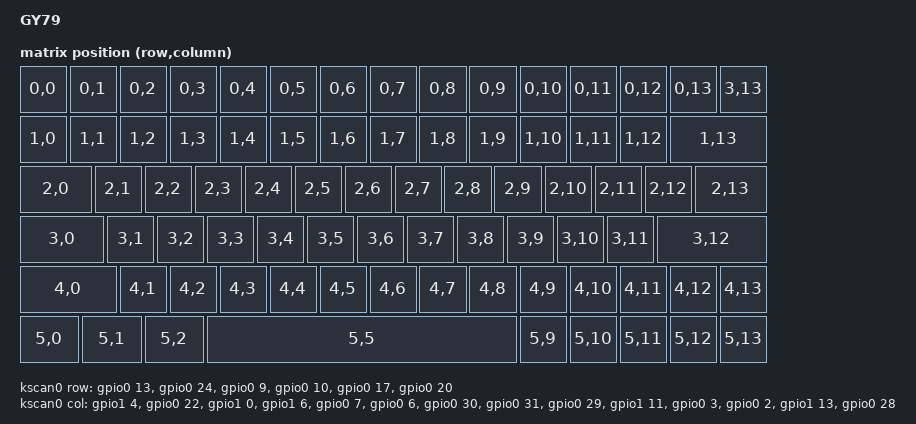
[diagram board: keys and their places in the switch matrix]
/*
* Copyright (c) 2021 Polarity Works
*
* SPDX-License-Identifier: MIT
*/

/dts-v1/;
#include <nordic/nrf52840_qiaa.dtsi>
#include <dt-bindings/led/led.h>
#include <dt-bindings/zmk/matrix_transform.h>
#include <physical_layouts.dtsi>
#include "pinctrl.dtsi"

/ {
	model = "GY79";
	compatible = "polarityworks,gy79";

	chosen {
		zephyr,code-partition = &code_partition;
		zephyr,sram = &sram0;
		zephyr,flash = &flash0;
		zmk,kscan = &kscan0;
		zmk,underglow = &led_strip;
		zmk,battery = &vbatt;
		zmk,physical-layout = &physical_layout_0;
	};


	kscan0: kscan_0 {
		compatible = "zmk,kscan-gpio-matrix";
		diode-direction = "col2row";


		col-gpios
			= <&gpio1 4 GPIO_ACTIVE_HIGH>
			, <&gpio0 22 GPIO_ACTIVE_HIGH>
			, <&gpio1 0 GPIO_ACTIVE_HIGH>
			, <&gpio1 6 GPIO_ACTIVE_HIGH>
			, <&gpio0 7 GPIO_ACTIVE_HIGH>
			, <&gpio0 6 GPIO_ACTIVE_HIGH>
			, <&gpio0 30 GPIO_ACTIVE_HIGH>
			, <&gpio0 31 GPIO_ACTIVE_HIGH>
			, <&gpio0 29 GPIO_ACTIVE_HIGH>
			, <&gpio1 11 GPIO_ACTIVE_HIGH>
			, <&gpio0 3 GPIO_ACTIVE_HIGH>
			, <&gpio0 2 GPIO_ACTIVE_HIGH>
			, <&gpio1 13 GPIO_ACTIVE_HIGH>
			, <&gpio0 28 GPIO_ACTIVE_HIGH>
			;

		row-gpios
			= <&gpio0 13 (GPIO_ACTIVE_HIGH | GPIO_PULL_DOWN)>
			, <&gpio0 24 (GPIO_ACTIVE_HIGH | GPIO_PULL_DOWN)>
			, <&gpio0  9 (GPIO_ACTIVE_HIGH | GPIO_PULL_DOWN)>
			, <&gpio0 10 (GPIO_ACTIVE_HIGH | GPIO_PULL_DOWN)>
			, <&gpio0 17 (GPIO_ACTIVE_HIGH | GPIO_PULL_DOWN)>
			, <&gpio0 20 (GPIO_ACTIVE_HIGH | GPIO_PULL_DOWN)>
			;
	};

	ext-power {
		compatible = "zmk,ext-power-generic";
		control-gpios = <&gpio1 19 GPIO_ACTIVE_HIGH>;
		init-delay-ms = <50>;
	};


	leds {
		compatible = "gpio-leds";
		blue_led: led_0 {
			gpios = <&gpio1 10 GPIO_ACTIVE_HIGH>;
			label = "Blue LED";
		};
	};

	vbatt: vbatt {
		compatible = "zmk,battery-voltage-divider";
		io-channels = <&adc 2>;
		output-ohms = <100000>;
		full-ohms = <(2000000 + 820000)>;
	};

	layout_grid_transform:
    keymap_transform_0 {
        compatible = "zmk,matrix-transform";
        columns = <14>;
        rows = <6>;
        map = <
            RC(0,0) RC(0,1) RC(0,2) RC(0,3) RC(0,4) RC(0,5) RC(0,6) RC(0,7) RC(0,8) RC(0,9) RC(0,10) RC(0,11) RC(0,12) RC(0,13) RC(3,13) 
            RC(1,0) RC(1,1) RC(1,2) RC(1,3) RC(1,4) RC(1,5) RC(1,6) RC(1,7) RC(1,8) RC(1,9) RC(1,10) RC(1,11) RC(1,12) RC(1,13)
            RC(2,0) RC(2,1) RC(2,2) RC(2,3) RC(2,4) RC(2,5) RC(2,6) RC(2,7) RC(2,8) RC(2,9) RC(2,10) RC(2,11) RC(2,12) RC(2,13) 
            RC(3,0) RC(3,1) RC(3,2) RC(3,3) RC(3,4) RC(3,5) RC(3,6) RC(3,7) RC(3,8) RC(3,9) RC(3,10) RC(3,11) RC(3,12) 
            RC(4,0) RC(4,1) RC(4,2) RC(4,3) RC(4,4) RC(4,5) RC(4,6) RC(4,7) RC(4,8) RC(4,9) RC(4,10) RC(4,11) RC(4,12) RC(4,13) 
            RC(5,0) RC(5,1) RC(5,2)                         RC(5,5)                         RC(5,9) RC(5,10) RC(5,11) RC(5,12) RC(5,13)     
            >;

    };
	physical_layout_0: physical_layout_0 {
        compatible = "zmk,physical-layout";
        display-name = "Default";
        transform = <&layout_grid_transform>;

        keys  //                     w   h    x    y     rot    rx    ry
            = <&key_physical_attrs 100 100    0    0       0     0     0>
            , <&key_physical_attrs 100 100  100    0       0     0     0>
            , <&key_physical_attrs 100 100  200    0       0     0     0>
            , <&key_physical_attrs 100 100  300    0       0     0     0>
            , <&key_physical_attrs 100 100  400    0       0     0     0>
            , <&key_physical_attrs 100 100  500    0       0     0     0>
            , <&key_physical_attrs 100 100  600    0       0     0     0>
            , <&key_physical_attrs 100 100  700    0       0     0     0>
            , <&key_physical_attrs 100 100  800    0       0     0     0>
            , <&key_physical_attrs 100 100  900    0       0     0     0>
            , <&key_physical_attrs 100 100 1000    0       0     0     0>
            , <&key_physical_attrs 100 100 1100    0       0     0     0>
            , <&key_physical_attrs 100 100 1200    0       0     0     0>
            , <&key_physical_attrs 100 100 1300    0       0     0     0>
	    , <&key_physical_attrs 100 100 1400    0       0     0     0>
			
            , <&key_physical_attrs 100 100    0  100       0     0     0>
            , <&key_physical_attrs 100 100  100  100       0     0     0>
            , <&key_physical_attrs 100 100  200  100       0     0     0>
            , <&key_physical_attrs 100 100  300  100       0     0     0>
            , <&key_physical_attrs 100 100  400  100       0     0     0>
            , <&key_physical_attrs 100 100  500  100       0     0     0>
            , <&key_physical_attrs 100 100  600  100       0     0     0>
            , <&key_physical_attrs 100 100  700  100       0     0     0>
            , <&key_physical_attrs 100 100  800  100       0     0     0>
            , <&key_physical_attrs 100 100  900  100       0     0     0>
            , <&key_physical_attrs 100 100 1000  100       0     0     0>
            , <&key_physical_attrs 100 100 1100  100       0     0     0>
            , <&key_physical_attrs 100 100 1200  100       0     0     0>
            , <&key_physical_attrs 200 100 1300  100       0     0     0>
			
	    , <&key_physical_attrs 150 100    0  200       0     0     0>
            , <&key_physical_attrs 100 100  150  200       0     0     0>
            , <&key_physical_attrs 100 100  250  200       0     0     0>
            , <&key_physical_attrs 100 100  350  200       0     0     0>
            , <&key_physical_attrs 100 100  450  200       0     0     0>
            , <&key_physical_attrs 100 100  550  200       0     0     0>
            , <&key_physical_attrs 100 100  650  200       0     0     0>
            , <&key_physical_attrs 100 100  750  200       0     0     0>
            , <&key_physical_attrs 100 100  850  200       0     0     0>
            , <&key_physical_attrs 100 100  950  200       0     0     0>
            , <&key_physical_attrs 100 100 1050  200       0     0     0>
            , <&key_physical_attrs 100 100 1150  200       0     0     0>
            , <&key_physical_attrs 100 100 1250  200       0     0     0>
            , <&key_physical_attrs 150 100 1350  200       0     0     0>
			
            , <&key_physical_attrs 175 100    0  300       0     0     0>
            , <&key_physical_attrs 100 100  175  300       0     0     0>
            , <&key_physical_attrs 100 100  275  300       0     0     0>
            , <&key_physical_attrs 100 100  375  300       0     0     0>
            , <&key_physical_attrs 100 100  475  300       0     0     0>
            , <&key_physical_attrs 100 100  575  300       0     0     0>
            , <&key_physical_attrs 100 100  675  300       0     0     0>
            , <&key_physical_attrs 100 100  775  300       0     0     0>
            , <&key_physical_attrs 100 100  875  300       0     0     0>
            , <&key_physical_attrs 100 100  975  300       0     0     0>
            , <&key_physical_attrs 100 100 1075  300       0     0     0>
            , <&key_physical_attrs 100 100 1175  300       0     0     0>
            , <&key_physical_attrs 225 100 1275  300       0     0     0>
			
            , <&key_physical_attrs 200 100    0  400       0     0     0>
            , <&key_physical_attrs 100 100  200  400       0     0     0>
            , <&key_physical_attrs 100 100  300  400       0     0     0>
            , <&key_physical_attrs 100 100  400  400       0     0     0>
            , <&key_physical_attrs 100 100  500  400       0     0     0>
            , <&key_physical_attrs 100 100  600  400       0     0     0>
            , <&key_physical_attrs 100 100  700  400       0     0     0>
            , <&key_physical_attrs 100 100  800  400       0     0     0>
            , <&key_physical_attrs 100 100  900  400       0     0     0>
            , <&key_physical_attrs 100 100 1000  400       0     0     0>
            , <&key_physical_attrs 100 100 1100  400       0     0     0>
            , <&key_physical_attrs 100 100 1200  400       0     0     0>
            , <&key_physical_attrs 100 100 1300  400       0     0     0>
	    , <&key_physical_attrs 100 100 1400  400       0     0     0>
			
	    , <&key_physical_attrs 125 100    0  500       0     0     0>
            , <&key_physical_attrs 125 100  125  500       0     0     0>
            , <&key_physical_attrs 125 100  250  500       0     0     0>
            , <&key_physical_attrs 625 100  375  500       0     0     0>
	    , <&key_physical_attrs 100 100 1000  500       0     0     0>
            , <&key_physical_attrs 100 100 1100  500       0     0     0>
            , <&key_physical_attrs 100 100 1200  500       0     0     0>
            , <&key_physical_attrs 100 100 1300  500       0     0     0>
            , <&key_physical_attrs 100 100 1400  500       0     0     0>
            ;

    };

};

&adc {
	status = "okay";
};

&gpiote {
	status = "okay";
};

&gpio0 {
	status = "okay";
};

&gpio1 {
	status = "okay";
};

zephyr_udc0: &usbd {
	status = "okay";
};


&flash0 {
	/*
	 * For more information, see:
	 * http://docs.zephyrproject.org/latest/devices/dts/flash_partitions.html
	 */
	partitions {
		compatible = "fixed-partitions";
		#address-cells = <1>;
		#size-cells = <1>;

		sd_partition: partition@0 {
			label = "softdevice";
			reg = <0x00000000 0x00026000>;
		};
		code_partition: partition@26000 {
			label = "code_partition";
			reg = <0x00026000 0x000c6000>;
		};

		/*
		 * The flash starting at 0x000ec000 and ending at
		 * 0x000f3fff is reserved for use by the application.
		 */

		/*
		 * Storage partition will be used by FCB/LittleFS/NVS
		 * if enabled.
		 */
		storage_partition: partition@ec000 {
			label = "storage";
			reg = <0x000ec000 0x00008000>;
		};

		boot_partition: partition@f4000 {
			label = "adafruit_boot";
			reg = <0x000f4000 0x0000c000>;
		};
	};
};

&spi3 {
	compatible = "nordic,nrf-spim";
	status = "okay";
	pinctrl-0 = <&spi3_default>;
	pinctrl-1 = <&spi3_sleep>;
	pinctrl-names = "default", "sleep";

	led_strip: ws2812@0 {
		compatible = "worldsemi,ws2812-spi";

		/* SPI */
		reg = <0>;
		spi-max-frequency = <4000000>;

		/* WS2812 */
		chain-length = <79>; /* number of LEDs */
		spi-one-frame = <0x70>;
		spi-zero-frame = <0x40>;
		color-mapping = <LED_COLOR_ID_GREEN
                   LED_COLOR_ID_RED
                   LED_COLOR_ID_BLUE>;
	};

};



